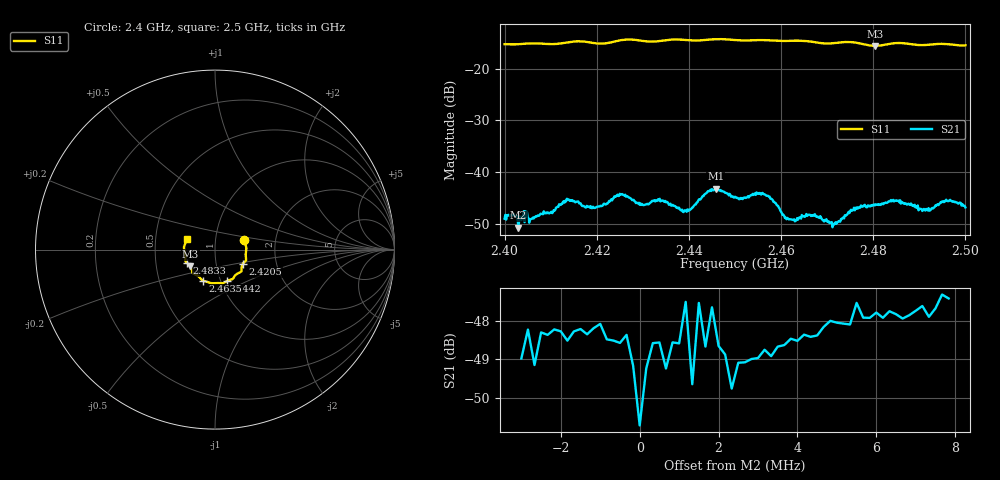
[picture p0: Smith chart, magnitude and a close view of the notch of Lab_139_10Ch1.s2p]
# Hz S RI R 50
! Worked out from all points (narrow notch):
!   601 points, 2.4 GHz to 2.5 GHz, reference 50 ohm
!   highest |S21| = -43.16 dB at 2.4458 GHz (marker M1); lowest = -50.7 dB at 2.403 GHz (marker M2)
!   notch at M2: 4.4 dB deep, 1.32 MHz wide at half that depth
!   lowest |S11| = -15.6 dB at 2.4803 GHz (marker M3), VSWR 1.40, Z = 37.4 - j7.21 ohm
!   |S11| at or under -10 dB: start of sweep to end of sweep
!   S12 and S22 are empty: the file has one direction only
!   S11 on the Smith chart (normalised r, x): 2.4 GHz: 1.38, +0.15; 2.4205 GHz: 1.35, -0.22; 2.442 GHz: 1.08, -0.39; 2.4635 GHz: 0.83, -0.30; 2.4833 GHz: 0.72, -0.11; 2.5 GHz: 0.72, +0.09
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2.4e9  0.1639 0.0518  0.000711 0.00349  0 0  0 0
2.403e9  0.1698 0.0272  0.00195 0.00217  0 0  0 0
2.41e9  0.1716 -0.0154  0.004 -0.000918  0 0  0 0
2.413667e9  0.1729 -0.0473  0.00358 -0.00417  0 0  0 0
2.416667e9  0.1721 -0.0623  0.000361 -0.0048  0 0  0 0
2.4205e9  0.155 -0.0796  -0.00175 -0.00432  0 0  0 0
2.425e9  0.149 -0.1134  -0.00573 -0.00235  0 0  0 0
2.429833e9  0.1328 -0.1293  -0.00442 0.00218  0 0  0 0
2.433333e9  0.109 -0.1478  -0.00307 0.00455  0 0  0 0
2.439e9  0.0898 -0.1667  0.000997 0.00415  0 0  0 0
2.442e9  0.0694 -0.1736  0.00243 0.00471  0 0  0 0
2.445833e9  0.0476 -0.1864  0.0067 0.00186  0 0  0 0
2.45e9  0.0265 -0.1869  0.00497 -0.003  0 0  0 0
2.456333e9  -0.0171 -0.1876  -0.000578 -0.0061  0 0  0 0
2.460833e9  -0.049 -0.1782  -0.00292 -0.00214  0 0  0 0
2.4635e9  -0.0655 -0.174  -0.00307 -0.00189  0 0  0 0
2.466667e9  -0.0776 -0.1642  -0.00384 -0.000306  0 0  0 0
2.471667e9  -0.1091 -0.1387  -0.00289 0.00136  0 0  0 0
2.480333e9  -0.1367 -0.0938  0.000918 0.00469  0 0  0 0
2.483333e9  -0.1556 -0.0747  0.00339 0.00399  0 0  0 0
2.490833e9  -0.1672 -0.0202  0.00401 -0.00167  0 0  0 0
2.5e9  -0.1569 0.0591  -0.00232 -0.00394  0 0  0 0
